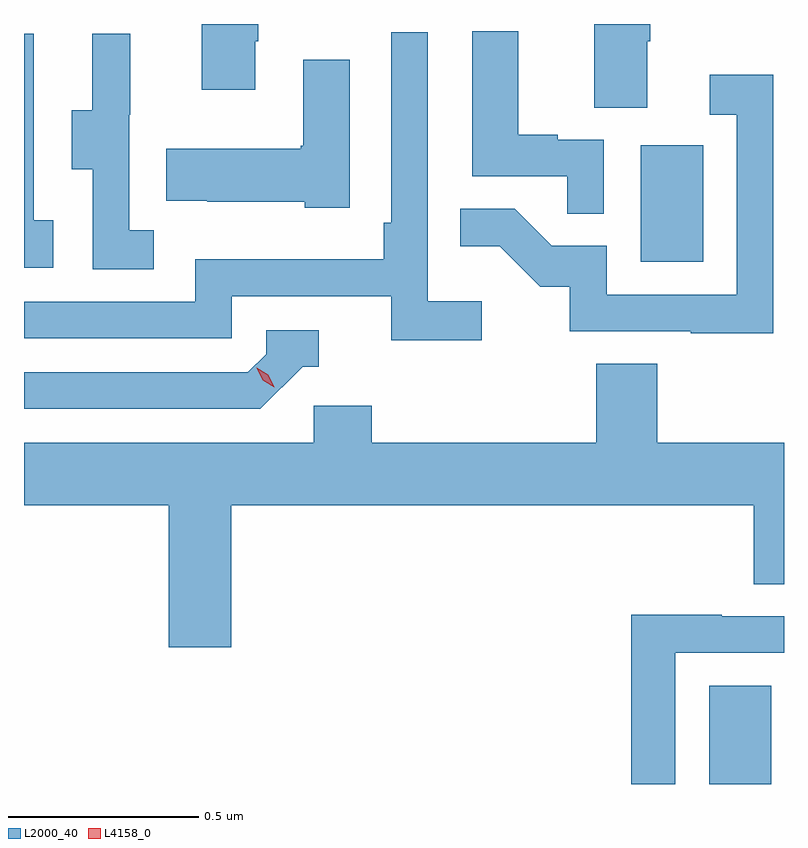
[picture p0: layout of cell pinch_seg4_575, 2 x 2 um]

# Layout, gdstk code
import gdstk
lib = gdstk.Library(unit=1e-6, precision=1e-09)
def R(c, l, rs):  # rectangles x0, y0, x1, y1
    for r in rs: c.add(gdstk.rectangle(r[:2], r[2:], *l))
def P(c, l, *ps):  # polygons
    for p in ps: c.add(gdstk.Polygon(p, *l))
L2000_40 = (2000, 40)
L4158_0 = (4158, 0)

pinch_seg4_575 = lib.new_cell('pinch_seg4_575')
R(pinch_seg4_575, L2000_40, [(1113.482,777.438,1113.646,777.697), (1113.302,778.812,1113.466,779.119)])
P(pinch_seg4_575, L2000_40, [(1112.287,779.393),(1112.295,779.393),(1112.295,779.438),(1112.147,779.438),(1112.147,779.265),(1112.287,779.265)],
  [(1113.319,779.392),(1113.327,779.392),(1113.327,779.438),(1113.179,779.438),(1113.179,779.218),(1113.319,779.218)],
  [(1113.204,779.133),(1113.083,779.133),(1113.083,779.146),(1112.98,779.146),(1112.98,779.419),(1112.858,779.419),(1112.858,779.037),(1113.109,779.037),(1113.109,778.939),(1113.204,778.939)],
  [(1112.884,778.708),(1112.742,778.708),(1112.742,779.416),(1112.646,779.416),(1112.646,778.915),(1112.626,778.915),(1112.626,778.819),(1112.13,778.819),(1112.13,778.707),(1111.679,778.707),(1111.679,778.611),(1112.226,778.611),(1112.226,778.722),(1112.645,778.722),(1112.645,778.606),(1112.884,778.606)],
  [(1111.756,778.922),(1111.704,778.922),(1111.704,779.413),(1111.679,779.413),(1111.679,778.797),(1111.756,778.797)],
  [(1112.02,778.895),(1111.956,778.895),(1111.956,779.199),(1111.958,779.199),(1111.958,779.413),(1111.859,779.413),(1111.859,779.211),(1111.805,779.211),(1111.805,779.056),(1111.86,779.056),(1111.86,778.792),(1112.02,778.792)],
  [(1112.536,779.344),(1112.414,779.344),(1112.414,779.118),(1112.407,779.118),(1112.407,779.11),(1112.053,779.11),(1112.053,778.973),(1112.161,778.973),(1112.161,778.97),(1112.418,778.97),(1112.418,778.955),(1112.536,778.955)],
  [(1113.651,779.305),(1113.483,779.305),(1113.483,779.199),(1113.555,779.199),(1113.555,778.725),(1113.213,778.725),(1113.213,778.854),(1113.068,778.854),(1112.97,778.952),(1112.827,778.952),(1112.827,778.853),(1112.931,778.853),(1113.038,778.746),(1113.115,778.746),(1113.115,778.629),(1113.433,778.629),(1113.433,778.624),(1113.651,778.624)],
  [(1112.412,778.536),(1112.455,778.536),(1112.455,778.632),(1112.316,778.632),(1112.316,778.569),(1112.268,778.521),(1111.679,778.521),(1111.679,778.425),(1112.301,778.425)],
  [(1112.224,778.172),(1113.599,778.172),(1113.599,777.964),(1113.679,777.964),(1113.679,778.336),(1113.345,778.336),(1113.345,778.544),(1113.185,778.544),(1113.185,778.336),(1112.594,778.336),(1112.594,778.434),(1112.442,778.434),(1112.442,778.336),(1111.679,778.336),(1111.679,778.172),(1112.06,778.172),(1112.06,777.798),(1112.224,777.798)],
  [(1113.393,777.783),(1113.679,777.783),(1113.679,777.879),(1113.515,777.879),(1113.515,777.884),(1113.277,777.884),(1113.277,777.438),(1113.393,777.438)])
P(pinch_seg4_575, L4158_0, [(1112.338,778.482),(1112.307,778.501),(1112.291,778.534),(1112.291,778.534),(1112.291,778.534),(1112.322,778.515),(1112.338,778.482),(1112.338,778.482)])

lib.write_gds('pinch_seg4_575.gds')
